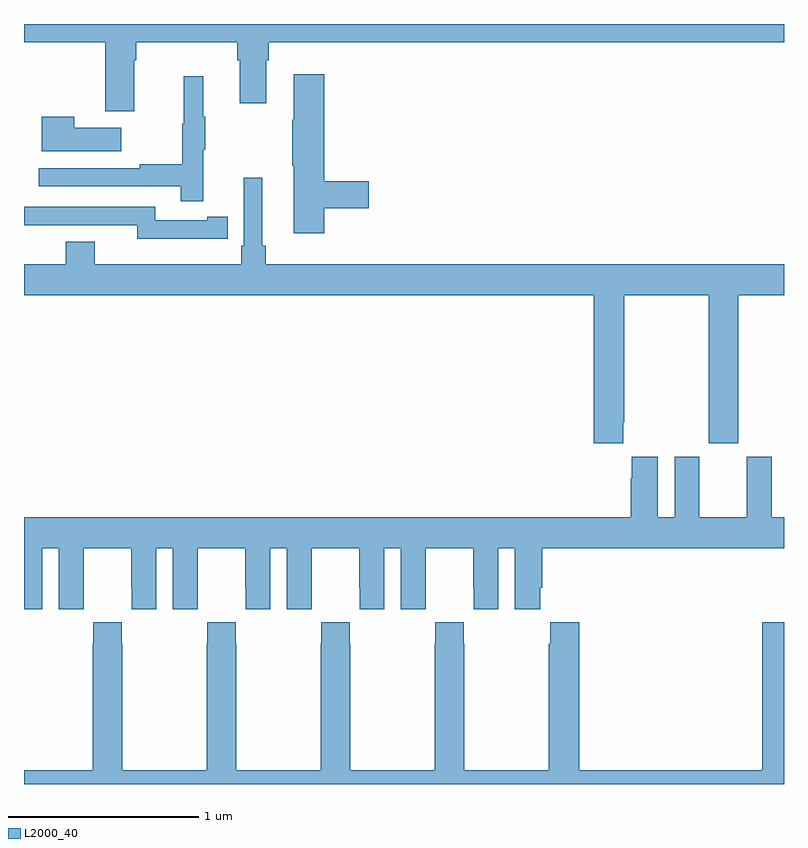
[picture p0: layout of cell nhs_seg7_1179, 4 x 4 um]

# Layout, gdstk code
import gdstk
lib = gdstk.Library(unit=1e-6, precision=1e-09)
def P(c, l, *ps):  # polygons
    for p in ps: c.add(gdstk.Polygon(p, *l))
L2000_40 = (2000, 40)

nhs_seg7_1179 = lib.new_cell('nhs_seg7_1179')
P(nhs_seg7_1179, L2000_40, [(193.579,1045.808),(193.592,1045.808),(193.592,1045.904),(194.123,1045.904),(194.123,1045.808),(194.135,1045.808),(194.135,1045.584),(194.275,1045.584),(194.275,1045.808),(194.288,1045.808),(194.288,1045.904),(197,1045.904),(197,1046),(193,1046),(193,1045.904),(193.427,1045.904),(193.427,1045.542),(193.579,1045.542)],
  [(194.579,1045.03),(194.815,1045.03),(194.815,1045.172),(194.579,1045.172),(194.579,1045.735),(194.42,1045.735),(194.42,1045.496),(194.413,1045.496),(194.413,1045.255),(194.42,1045.255),(194.42,1044.9),(194.579,1044.9)],
  [(193.943,1045.339),(193.954,1045.339),(193.954,1045.513),(193.943,1045.513),(193.943,1045.726),(193.84,1045.726),(193.84,1045.476),(193.833,1045.476),(193.833,1045.262),(193.609,1045.262),(193.609,1045.242),(193.077,1045.242),(193.077,1045.146),(193.825,1045.146),(193.825,1045.068),(193.943,1045.068)],
  [(193.513,1045.453),(193.265,1045.453),(193.265,1045.513),(193.094,1045.513),(193.094,1045.331),(193.513,1045.331)],
  [(196.153,1043.905),(196.158,1043.905),(196.158,1044.572),(196.603,1044.572),(196.603,1043.793),(196.758,1043.793),(196.758,1044.572),(197,1044.572),(197,1044.736),(194.273,1044.736),(194.273,1044.832),(194.254,1044.832),(194.254,1045.192),(194.157,1045.192),(194.157,1044.832),(194.144,1044.832),(194.144,1044.736),(193.372,1044.736),(193.372,1044.853),(193.22,1044.853),(193.22,1044.736),(193,1044.736),(193,1044.572),(195.998,1044.572),(195.998,1043.793),(196.153,1043.793)],
  [(193.964,1044.87),(194.072,1044.87),(194.072,1044.986),(193.964,1044.986),(193.964,1044.966),(193.692,1044.966),(193.692,1045.038),(193,1045.038),(193,1044.941),(193.136,1044.941),(193.136,1044.942),(193.596,1044.942),(193.596,1044.869),(193.964,1044.869)],
  [(193.096,1043.24),(193.184,1043.24),(193.184,1042.92),(193.314,1042.92),(193.314,1043.032),(193.315,1043.032),(193.315,1043.24),(193.565,1043.24),(193.565,1043.032),(193.566,1043.032),(193.566,1042.92),(193.696,1042.92),(193.696,1043.24),(193.784,1043.24),(193.784,1042.92),(193.914,1042.92),(193.914,1043.032),(193.915,1043.032),(193.915,1043.24),(194.165,1043.24),(194.165,1043.032),(194.166,1043.032),(194.166,1042.92),(194.296,1042.92),(194.296,1043.24),(194.384,1043.24),(194.384,1042.92),(194.514,1042.92),(194.514,1043.032),(194.515,1043.032),(194.515,1043.24),(194.765,1043.24),(194.765,1043.032),(194.766,1043.032),(194.766,1042.92),(194.896,1042.92),(194.896,1043.24),(194.984,1043.24),(194.984,1042.92),(195.114,1042.92),(195.114,1043.032),(195.115,1043.032),(195.115,1043.24),(195.365,1043.24),(195.365,1043.032),(195.366,1043.032),(195.366,1042.92),(195.496,1042.92),(195.496,1043.24),(195.584,1043.24),(195.584,1042.92),(195.718,1042.92),(195.718,1043.032),(195.728,1043.032),(195.728,1043.24),(197,1043.24),(197,1043.404),(196.936,1043.404),(196.936,1043.722),(196.805,1043.722),(196.805,1043.404),(196.555,1043.404),(196.555,1043.722),(196.424,1043.722),(196.424,1043.404),(196.336,1043.404),(196.336,1043.722),(196.199,1043.722),(196.199,1043.609),(196.193,1043.609),(196.193,1043.404),(193,1043.404),(193,1042.92),(193.096,1042.92)],
  [(197,1042.852),(196.886,1042.852),(196.886,1042.072),(195.923,1042.072),(195.923,1042.852),(195.769,1042.852),(195.769,1042.739),(195.763,1042.739),(195.763,1042.072),(195.318,1042.072),(195.318,1042.739),(195.315,1042.739),(195.315,1042.852),(195.165,1042.852),(195.165,1042.739),(195.163,1042.739),(195.163,1042.072),(194.718,1042.072),(194.718,1042.739),(194.715,1042.739),(194.715,1042.852),(194.565,1042.852),(194.565,1042.739),(194.563,1042.739),(194.563,1042.072),(194.118,1042.072),(194.118,1042.739),(194.115,1042.739),(194.115,1042.852),(193.965,1042.852),(193.965,1042.739),(193.963,1042.739),(193.963,1042.072),(193.518,1042.072),(193.518,1042.739),(193.515,1042.739),(193.515,1042.852),(193.365,1042.852),(193.365,1042.739),(193.363,1042.739),(193.363,1042.072),(193,1042.072),(193,1042),(197,1042)])

lib.write_gds('nhs_seg7_1179.gds')
